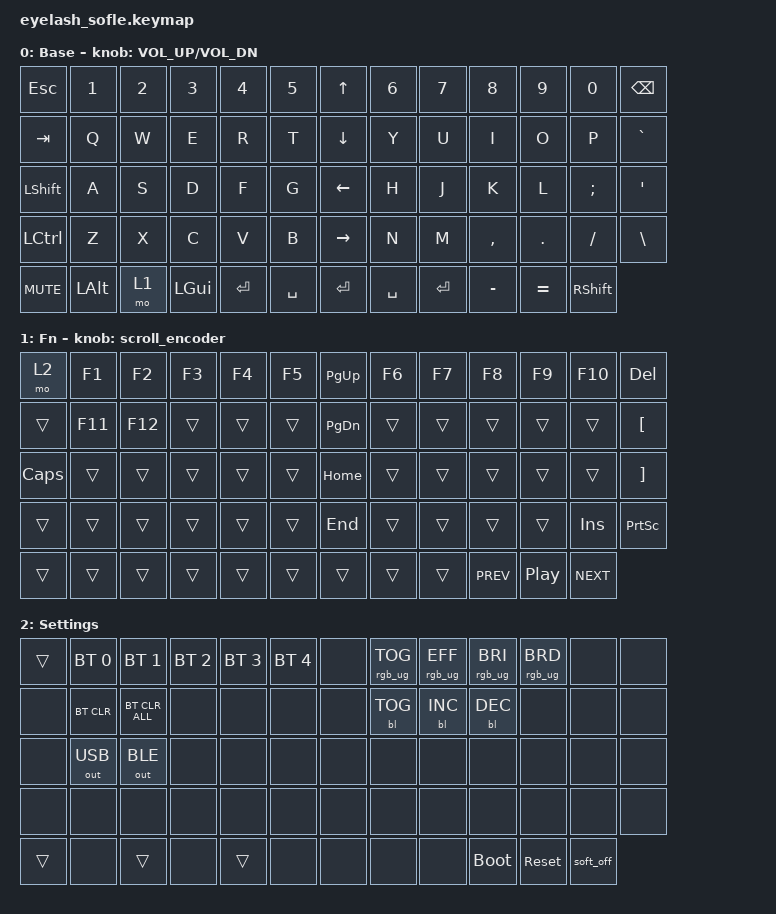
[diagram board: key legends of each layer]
#define ZMK_POINTING_DEFAULT_SCRL_VAL 25

#include <input/processors.dtsi>
#include <zephyr/dt-bindings/input/input-event-codes.h>
#include <behaviors.dtsi>
#include <dt-bindings/zmk/backlight.h>
#include <dt-bindings/zmk/bt.h>
#include <dt-bindings/zmk/keys.h>
#include <dt-bindings/zmk/outputs.h>
#include <dt-bindings/zmk/pointing.h>
#include <dt-bindings/zmk/rgb.h>

&msc_input_listener { input-processors = <&zip_scroll_scaler 2 1>; };

&msc {
    acceleration-exponent = <1>;
    time-to-max-speed-ms = <100>;
    delay-ms = <0>;
};

/ {
    scroll_encoder: scroll_encoder {
        compatible = "zmk,behavior-sensor-rotate";
        #sensor-binding-cells = <0>;
        bindings = <&msc SCRL_DOWN>, <&msc SCRL_UP>;

        tap-ms = <100>;
    };

    keymap {
        compatible = "zmk,keymap";

        // Column 7 (the &kp UP / DOWN / LEFT / RIGHT / ENTER entries in the
        // middle of each row) is the 5-way joystick below the right OLED.
        base {
            display-name = "Base";
            bindings = <
&kp ESC     &kp N1    &kp N2  &kp N3    &kp N4  &kp N5       &kp UP     &kp N6     &kp N7     &kp N8     &kp N9     &kp N0     &kp BSPC
&kp TAB     &kp Q     &kp W   &kp E     &kp R   &kp T        &kp DOWN   &kp Y      &kp U      &kp I      &kp O      &kp P      &kp GRAVE
&kp LSHFT   &kp A     &kp S   &kp D     &kp F   &kp G        &kp LEFT   &kp H      &kp J      &kp K      &kp L      &kp SEMI   &kp SQT
&kp LCTRL   &kp Z     &kp X   &kp C     &kp V   &kp B        &kp RIGHT  &kp N      &kp M      &kp COMMA  &kp DOT    &kp FSLH   &kp BSLH
&kp C_MUTE  &kp LALT  &mo 1   &kp LGUI  &kp ENTER  &kp SPACE    &kp ENTER  &kp SPACE  &kp ENTER  &kp MINUS  &kp EQUAL  &kp RSHFT
            >;

            sensor-bindings = <&inc_dec_kp C_VOL_UP C_VOL_DN>;
        };

        fn {
            display-name = "Fn";
            bindings = <
&mo 2     &kp F1   &kp F2   &kp F3  &kp F4  &kp F5    &kp PG_UP  &kp F6  &kp F7  &kp F8  &kp F9      &kp F10   &kp DEL
&trans    &kp F11  &kp F12  &trans  &trans  &trans    &kp PG_DN  &trans  &trans  &trans  &trans      &trans    &kp LBKT
&kp CAPS  &trans   &trans   &trans  &trans  &trans    &kp HOME   &trans  &trans  &trans  &trans      &trans    &kp RBKT
&trans    &trans   &trans   &trans  &trans  &trans    &kp END    &trans  &trans  &trans  &trans      &kp INS   &kp PSCRN
&trans    &trans   &trans   &trans  &trans  &trans    &trans     &trans  &trans  &kp C_PREV  &kp C_PP  &kp C_NEXT
            >;

            sensor-bindings = <&scroll_encoder>;
        };

        settings {
            display-name = "Settings";
            bindings = <
&trans  &bt BT_SEL 0  &bt BT_SEL 1    &bt BT_SEL 2  &bt BT_SEL 3  &bt BT_SEL 4    &none  &rgb_ug RGB_TOG  &rgb_ug RGB_EFF  &rgb_ug RGB_BRI  &rgb_ug RGB_BRD  &none      &none
&none   &bt BT_CLR    &bt BT_CLR_ALL  &none         &none         &none           &none  &bl BL_TOG       &bl BL_INC       &bl BL_DEC       &none            &none      &none
&none   &out OUT_USB  &out OUT_BLE    &none         &none         &none           &none  &none            &none            &none            &none            &none      &none
&none   &none         &none           &none         &none         &none           &none  &none            &none            &none            &none            &none      &none
&trans  &none         &trans          &none         &trans        &none           &none  &none            &none            &bootloader      &sys_reset       &soft_off
            >;
        };
    };
};
